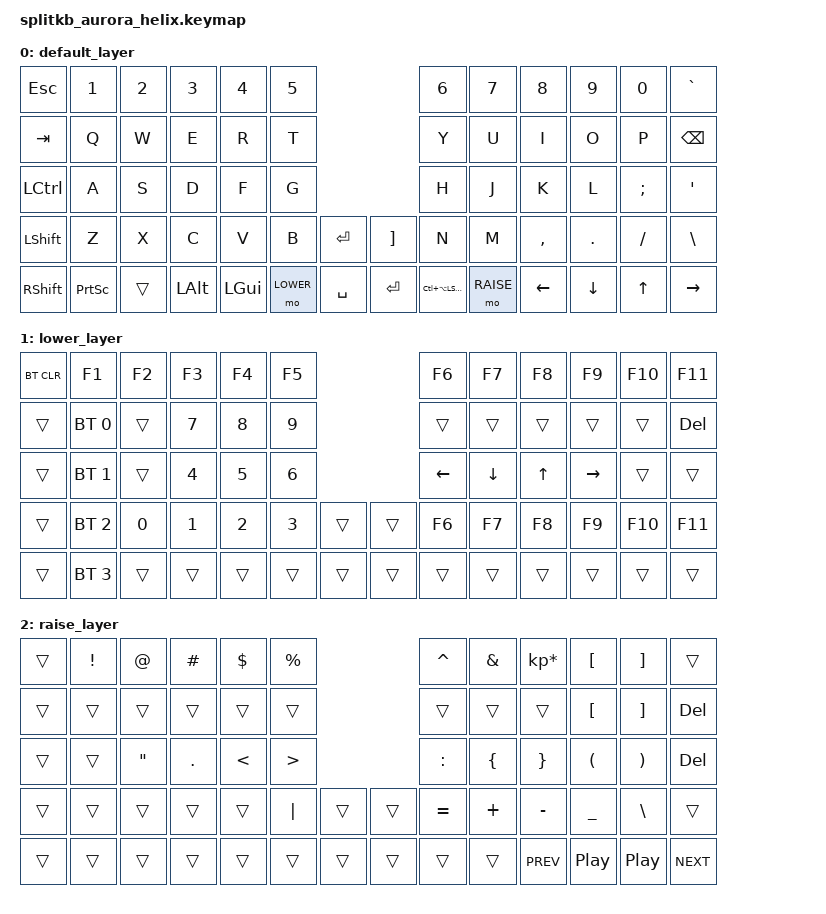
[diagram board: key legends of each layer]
/*
 * Copyright (c) 2023 The ZMK Contributors
 *
 * SPDX-License-Identifier: MIT
 */

#include <behaviors.dtsi>
#include <dt-bindings/zmk/keys.h>
#include <dt-bindings/zmk/bt.h>
#include <dt-bindings/zmk/rgb.h>
#include <dt-bindings/zmk/ext_power.h>
#include <dt-bindings/zmk/outputs.h>

#define DEFAULT 0
#define LOWER 1
#define RAISE 2


/ {
       keymap {
              compatible = "zmk,keymap";

              default_layer {
        bindings = <
         &kp ESC   &kp N1    &kp N2 &kp N3   &kp N4   &kp N5                                &kp N6           &kp N7     &kp N8    &kp N9     &kp N0    &kp GRAVE
         &kp TAB   &kp Q     &kp W  &kp E    &kp R    &kp T                                 &kp Y            &kp U      &kp I     &kp O      &kp P     &kp BSPC
         &kp LCTRL &kp A     &kp S  &kp D    &kp F    &kp G                                 &kp H            &kp J      &kp K     &kp L      &kp SEMI  &kp SQT
         &kp LSHFT &kp Z     &kp X  &kp C    &kp V    &kp B             &kp RET    &kp RBKT &kp N            &kp M      &kp COMMA &kp PERIOD &kp SLASH &kp BACKSLASH
         &kp RSHFT &kp PSCRN &trans &kp LALT &kp LGUI &mo LOWER &kp SPACE  &kp RET  &kp LC(LA(LSHFT)) &mo RAISE &kp LEFT  &kp DOWN   &kp UP    &kp RIGHT

                     >;
              };
              lower_layer {
                     bindings = <
        &bt BT_CLR &kp F1       &kp F2  &kp F3 &kp F4 &kp F5                    &kp F6   &kp F7   &kp F8  &kp F9    &kp F10  &kp F11                     
        &trans     &bt BT_SEL 0 &trans  &kp N7 &kp N8 &kp N9                    &trans   &trans   &trans  &trans    &trans   &kp DEL
        &trans     &bt BT_SEL 1 &trans  &kp N4 &kp N5 &kp N6                    &kp LEFT &kp DOWN &kp UP  &kp RIGHT &trans   &trans
        &trans     &bt BT_SEL 2 &kp N0  &kp N1 &kp N2 &kp N3 &trans      &trans &kp F6   &kp F7   &kp F8  &kp F9    &kp F10  &kp F11                     
        &trans     &bt BT_SEL 3 &trans  &trans &trans &trans &trans      &trans &trans   &trans   &trans  &trans    &trans   &trans
             >;
            };
              raise_layer {
        bindings = <
                            &trans &kp EXCL &kp AT  &kp HASH &kp DLLR &kp PRCNT                  &kp CARET &kp AMPS  &kp KP_MULTIPLY &kp LBKT &kp RBKT &trans
                            &trans &trans   &trans  &trans   &trans   &trans                     &trans    &trans    &trans          &kp LBKT &kp RBKT &kp DEL
                            &trans &trans   &kp DQT &kp DOT  &kp LT   &kp GT                     &kp COLON &kp LBRC  &kp RBRC        &kp LPAR &kp RPAR &kp DEL
                            &trans &trans   &trans  &trans   &trans   &kp PIPE &trans     &trans &kp EQUAL &kp PLUS  &kp MINUS       &kp UNDER &kp BSLH &trans 
                            &trans &trans   &trans  &trans   &trans   &trans  &trans      &trans &trans    &trans    &kp C_PREV      &kp C_PP &kp C_PP &kp C_NEXT
                     >;
              };
       };
    };

  /* combos { */
  /*   compatible = "zmk,combos"; */
  /*   combo_gaming { */
  /*     timeout-ms = <50>; */
  /*     bindings = <&to GAMING>; */
  /*     key-positions = <36 37 38 39>; // positions of A S D F */
  /*   }; */
  /* }; */
  /**/
  /* behaviors { */
  /*     lower_or_shifted: lower_or_shifted { */
  /*         compatible = "zmk,behavior-mod-morph"; */
  /*         label = "LOWER_OR_SHIFTED"; */
  /*         #binding-cells = <0>; */
  /*         bindings = <&mo LOWER>, <&mo SHIFT_LOWER>; */
  /*         mods = <(MOD_LSFT|MOD_RSFT)>; */
  /*     }; */
  /* }; */
/* }; */

